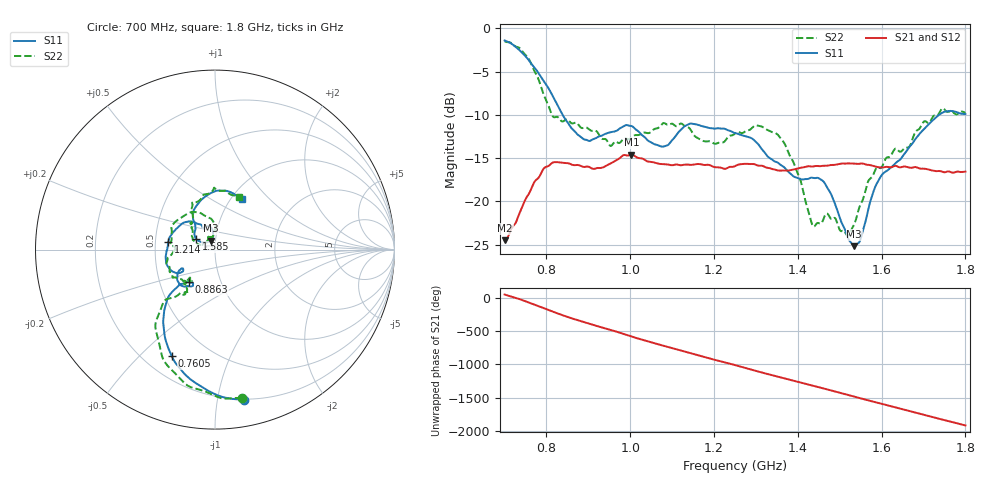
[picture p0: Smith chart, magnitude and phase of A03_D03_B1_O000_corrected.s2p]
! Created with skrf 1.9.0 (http://scikit-rf.org).
# Hz S RI R 50.0
!freq ReS11 ImS11 ReS21 ImS21 ReS12 ImS12 ReS22 ImS22
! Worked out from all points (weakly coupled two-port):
!   1601 points, 700 MHz to 1.8 GHz, reference 50 ohm
!   highest |S21| = -14.59 dB at 1.002 GHz (marker M1); lowest = -24.5 dB at 701.4 MHz (marker M2)
!   lowest |S11| = -25.2 dB at 1.535 GHz (marker M3), VSWR 1.12, Z = 47.3 + j4.66 ohm
!   |S11| at or under -10 dB: 838.5 MHz to 1.737 GHz (898.7 MHz wide, 69.8 % of centre)
!   |S22| runs from -24.0 to -1.5 dB; largest |S21 - S12| = 0.0035
!   S11 on the Smith chart (normalised r, x): 700 MHz: 0.20, -1.19; 760.5 MHz: 0.31, -0.63; 886.3 MHz: 0.70, -0.27; 1.214 GHz: 0.58, +0.05; 1.585 GHz: 0.80, +0.10; 1.8 GHz: 1.12, +0.70
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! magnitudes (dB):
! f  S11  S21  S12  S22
! 700 MHz  -1.4  -24.5  -24.3  -1.5
! 701.4 MHz  -1.4  -24.5  -24.2  -1.5
! 760.5 MHz  -3.9  -18.9  -18.8  -3.8
! 814.8 MHz  -7.8  -15.5  -15.6  -10.2
! 883.6 MHz  -12.6  -15.9  -15.8  -11.5
! 886.3 MHz  -12.7  -16.0  -15.9  -11.5
! 953 MHz  -12.0  -15.6  -15.6  -13.6
! 1.002 GHz  -11.3  -14.6  -14.7  -12.6
! 1.067 GHz  -13.5  -15.6  -15.6  -11.5
! 1.141 GHz  -11.0  -15.8  -15.7  -11.6
! 1.214 GHz  -11.6  -16.1  -16.1  -13.2
! 1.25 GHz  -12.1  -15.9  -15.9  -12.2
! 1.355 GHz  -15.6  -16.4  -16.4  -12.4
! 1.401 GHz  -17.3  -16.2  -16.2  -17.0
! 1.434 GHz  -17.3  -16.0  -15.9  -22.6
! 1.466 GHz  -18.0  -15.9  -15.9  -21.5
! 1.518 GHz  -24.1  -15.6  -15.6  -24.0
! 1.535 GHz  -25.2  -15.6  -15.7  -22.6
! 1.585 GHz  -18.2  -16.0  -16.0  -16.3
! 1.617 GHz  -16.3  -16.0  -16.0  -14.9
! 1.739 GHz  -9.9  -16.5  -16.5  -9.7
! 1.8 GHz  -9.9  -16.6  -16.6  -9.8
